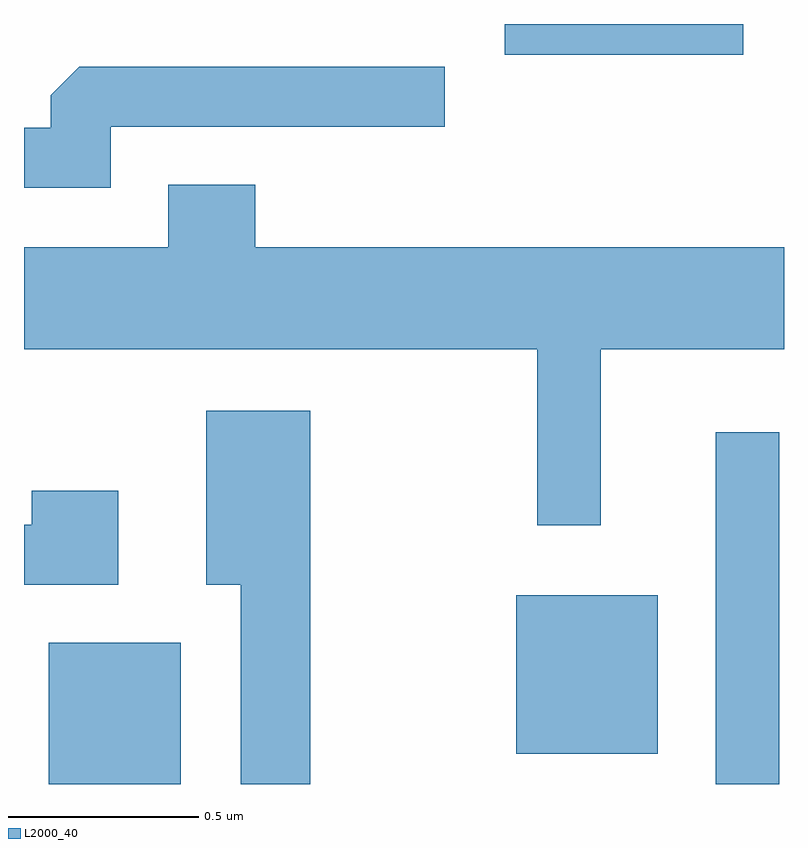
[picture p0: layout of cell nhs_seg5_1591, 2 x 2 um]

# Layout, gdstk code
import gdstk
lib = gdstk.Library(unit=1e-6, precision=1e-09)
def R(c, l, rs):  # rectangles x0, y0, x1, y1
    for r in rs: c.add(gdstk.rectangle(r[:2], r[2:], *l))
def P(c, l, *ps):  # polygons
    for p in ps: c.add(gdstk.Polygon(p, *l))
L2000_40 = (2000, 40)

nhs_seg5_1591 = lib.new_cell('nhs_seg5_1591')
R(nhs_seg5_1591, L2000_40, [(196.676,1480.072,197.024,1480.444), (198.431,1480.072,198.599,1480.998), (197.906,1480.151,198.279,1480.569), (197.876,1481.991,198.504,1482.072)])
P(nhs_seg5_1591, L2000_40, [(196.839,1481.801),(197.718,1481.801),(197.718,1481.959),(196.757,1481.959),(196.681,1481.884),(196.681,1481.799),(196.611,1481.799),(196.611,1481.641),(196.839,1481.641)],
  [(198.129,1481.216),(198.611,1481.216),(198.611,1481.484),(197.219,1481.484),(197.219,1481.649),(196.991,1481.649),(196.991,1481.484),(196.611,1481.484),(196.611,1481.216),(197.961,1481.216),(197.961,1480.753),(198.129,1480.753)],
  [(197.364,1481.054),(197.091,1481.054),(197.091,1480.596),(197.181,1480.596),(197.181,1480.072),(197.364,1480.072)],
  [(196.859,1480.844),(196.631,1480.844),(196.631,1480.754),(196.611,1480.754),(196.611,1480.596),(196.859,1480.596)])

lib.write_gds('nhs_seg5_1591.gds')
